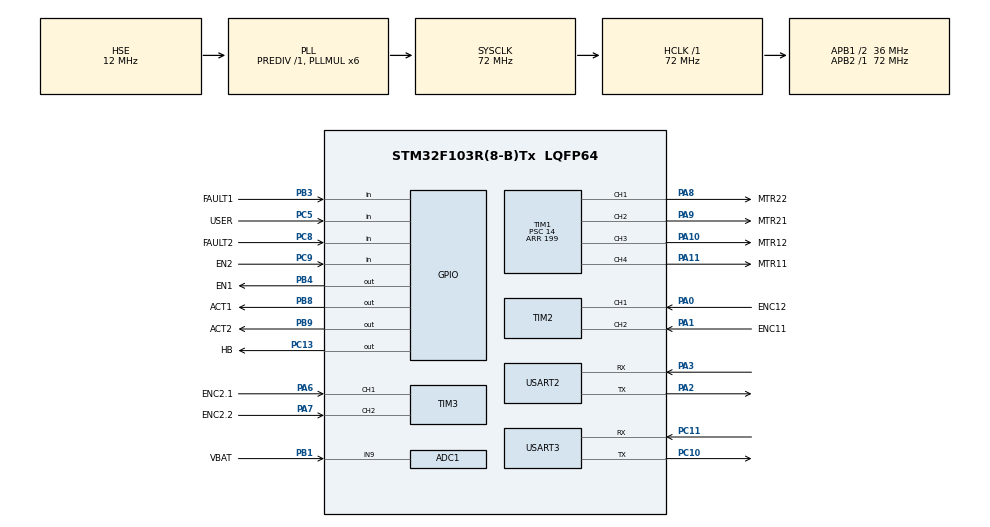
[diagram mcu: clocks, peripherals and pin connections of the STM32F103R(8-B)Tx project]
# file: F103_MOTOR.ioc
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ADC1.Channel-21\#ChannelRegularConversion=ADC_CHANNEL_9
ADC1.ContinuousConvMode=DISABLE
ADC1.EnableInjectedConversion=DISABLE
ADC1.InjNumberOfConversion=0
ADC1.NbrOfConversionFlag=1
ADC1.Rank-21\#ChannelRegularConversion=1
ADC1.SamplingTime-21\#ChannelRegularConversion=ADC_SAMPLETIME_239CYCLES_5
ADC1.master=1
Dma.Request0=USART2_TX
Dma.USART2_TX.0.Direction=DMA_MEMORY_TO_PERIPH
Dma.USART2_TX.0.Instance=DMA1_Channel7
Dma.USART2_TX.0.MemDataAlignment=DMA_MDATAALIGN_BYTE
Dma.USART2_TX.0.MemInc=DMA_MINC_ENABLE
Dma.USART2_TX.0.Mode=DMA_NORMAL
Dma.USART2_TX.0.PeriphDataAlignment=DMA_PDATAALIGN_BYTE
Dma.USART2_TX.0.PeriphInc=DMA_PINC_DISABLE
Dma.USART2_TX.0.Priority=DMA_PRIORITY_LOW
Mcu.Family=STM32F1
Mcu.Name=STM32F103R(8-B)Tx
Mcu.Package=LQFP64
NVIC.DMA1_Channel7_IRQn=true\:0\:0\:false\:false\:true\:false\:true\:true
NVIC.PriorityGroup=NVIC_PRIORITYGROUP_4
NVIC.TIM4_IRQn=true\:0\:0\:false\:false\:true\:true\:true\:true
NVIC.USART2_IRQn=true\:0\:0\:false\:false\:true\:true\:true\:true
NVIC.USART3_IRQn=true\:0\:0\:false\:false\:true\:true\:true\:true
PA0-WKUP.GPIO_Label=ENC12
PA0-WKUP.Signal=S_TIM2_CH1_ETR
PA1.GPIO_Label=ENC11
PA1.Signal=S_TIM2_CH2
PA10.GPIO_Label=MTR12
PA10.Signal=S_TIM1_CH3
PA11.GPIO_Label=MTR11
PA11.Signal=S_TIM1_CH4
PA13.Mode=Serial_Wire
PA13.Signal=SYS_JTMS-SWDIO
PA14.Mode=Serial_Wire
PA14.Signal=SYS_JTCK-SWCLK
PA2.Mode=Asynchronous
PA2.Signal=USART2_TX
PA3.Mode=Asynchronous
PA3.Signal=USART2_RX
PA6.GPIO_Label=ENC2.1
PA6.Signal=S_TIM3_CH1
PA7.GPIO_Label=ENC2.2
PA7.Signal=S_TIM3_CH2
PA8.GPIO_Label=MTR22
PA8.Signal=S_TIM1_CH1
PA9.GPIO_Label=MTR21
PA9.Signal=S_TIM1_CH2
PB1.GPIO_Label=VBAT
PB1.Signal=ADCx_IN9
PB3.GPIO_Label=FAULT1
PB3.Signal=GPIO_Input
PB4.GPIO_Label=EN1
PB4.Signal=GPIO_Output
PB8.GPIO_Label=ACT1
PB8.Signal=GPIO_Output
PB9.GPIO_Label=ACT2
PB9.Signal=GPIO_Output
PC10.Mode=Asynchronous
PC10.Signal=USART3_TX
PC11.Mode=Asynchronous
PC11.Signal=USART3_RX
PC13-TAMPER-RTC.GPIO_Label=HB
PC13-TAMPER-RTC.Signal=GPIO_Output
PC5.GPIO_Label=USER
PC5.Signal=GPIO_Input
PC8.GPIO_Label=FAULT2
PC8.Signal=GPIO_Input
PC9.GPIO_Label=EN2
PC9.Signal=GPIO_Input
PD0-OSC_IN.Mode=HSE-External-Oscillator
PD0-OSC_IN.Signal=RCC_OSC_IN
PD1-OSC_OUT.Mode=HSE-External-Oscillator
PD1-OSC_OUT.Signal=RCC_OSC_OUT
ProjectManager.HeapSize=0x200
ProjectManager.StackSize=0x400
ProjectManager.TargetToolchain=STM32CubeIDE
RCC.ADCPresc=RCC_ADCPCLK2_DIV8
RCC.AHBFreq_Value=72000000
RCC.APB1CLKDivider=RCC_HCLK_DIV2
RCC.APB1Freq_Value=36000000
RCC.APB1TimFreq_Value=72000000
RCC.APB2Freq_Value=72000000
RCC.APB2TimFreq_Value=72000000
RCC.HCLKFreq_Value=72000000
RCC.HSE_VALUE=12000000
RCC.PLLMUL=RCC_PLL_MUL6
RCC.PLLSourceVirtual=RCC_PLLSOURCE_HSE
RCC.SYSCLKFreq_VALUE=72000000
RCC.SYSCLKSource=RCC_SYSCLKSOURCE_PLLCLK
RCC.USBFreq_Value=72000000
SH.ADCx_IN9.0=ADC2_IN9
SH.ADCx_IN9.1=ADC1_IN9,IN9
SH.S_TIM1_CH1.0=TIM1_CH1,PWM Generation1 CH1
SH.S_TIM1_CH2.0=TIM1_CH2,PWM Generation2 CH2
SH.S_TIM1_CH3.0=TIM1_CH3,PWM Generation3 CH3
SH.S_TIM1_CH4.0=TIM1_CH4,PWM Generation4 CH4
SH.S_TIM2_CH1_ETR.0=TIM2_CH1,Encoder_Interface
SH.S_TIM2_CH2.0=TIM2_CH2,Encoder_Interface
SH.S_TIM3_CH1.0=TIM3_CH1,Encoder_Interface
SH.S_TIM3_CH2.0=TIM3_CH2,Encoder_Interface
TIM1.AutoReloadPreload=TIM_AUTORELOAD_PRELOAD_ENABLE
TIM1.BreakPolarity=TIM_BREAKPOLARITY_LOW
TIM1.BreakState=TIM_BREAK_DISABLE
TIM1.Channel-PWM\ Generation1\ CH1=TIM_CHANNEL_1
TIM1.Channel-PWM\ Generation2\ CH2=TIM_CHANNEL_2
TIM1.Channel-PWM\ Generation3\ CH3=TIM_CHANNEL_3
TIM1.Channel-PWM\ Generation4\ CH4=TIM_CHANNEL_4
TIM1.OCMode_PWM-PWM\ Generation1\ CH1=TIM_OCMODE_PWM1
TIM1.OCMode_PWM-PWM\ Generation2\ CH2=TIM_OCMODE_PWM1
TIM1.OCMode_PWM-PWM\ Generation3\ CH3=TIM_OCMODE_PWM1
TIM1.OCMode_PWM-PWM\ Generation4\ CH4=TIM_OCMODE_PWM1
TIM1.OCPolarity_1=TIM_OCPOLARITY_HIGH
TIM1.OCPolarity_2=TIM_OCPOLARITY_HIGH
TIM1.OCPolarity_3=TIM_OCPOLARITY_HIGH
TIM1.OCPolarity_4=TIM_OCPOLARITY_HIGH
TIM1.Period=199
TIM1.Prescaler=14
TIM2.EncoderMode=TIM_ENCODERMODE_TI12
TIM3.EncoderMode=TIM_ENCODERMODE_TI12
TIM4.AutoReloadPreload=TIM_AUTORELOAD_PRELOAD_ENABLE
TIM4.Period=19999
TIM4.Prescaler=71
USART2.VirtualMode=VM_ASYNC
USART3.VirtualMode=VM_ASYNC
VP_TIM1_VS_ClockSourceINT.Mode=Internal
VP_TIM4_VS_ClockSourceINT.Mode=Internal
board=custom

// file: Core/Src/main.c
/* USER CODE BEGIN Header */
/**
  ******************************************************************************
  * @file           : main.c
  * @brief          : Main program body
  * @programmer     : lmaoPkk
  ******************************************************************************
  * Skyscrapers are built from rock bottom up
  */
/* USER CODE END Header */
#include "main.h"

/* USER CODE BEGIN Includes */
#include <stdbool.h>
#include <math.h>
#include "Debug.h"
#include "DRV8848.h"
#include "MOTOR_Link.h"
/* USER CODE END Includes */

/* USER CODE BEGIN PTD */
typedef enum main_states {
	MAIN_STANDBY = 0u,
	MAIN_INITIALIZATION,
	MAIN_ERROR
} Program_State;
typedef struct {
	TIM_HandleTypeDef *TIM_CH;
	float pulses_per_rev;
	uint16_t count;
    uint16_t prev_count;
    bool initialized;
} EncoderState;

typedef struct{
	float error;
	float prev_error;

	bool LPF;
	float alpha;

	float Kp;
	float Ki;
	float Kd;
	float dt;

	float integral;
	float integral_lim;

	float output;
}PID_Controller;
/* USER CODE END PTD */

/* USER CODE BEGIN PD */
#define encoder_pulses 44.0f // Quadrature mode
#define gear_box_ratio 9.677419f
#define velocity_dt    16.0f //unit: ms

#define tuned_Kp 0.01
#define tuned_Ki 0.0
#define tuned_Kd 0.0
/* USER CODE END PD */

/* USER CODE BEGIN PM */
#ifdef __GNUC__
#define PUTCHAR_PROTOTYPE int __io_putchar(int ch)
#else
#define PUTCHAR_PROTOTYPE int fputc(int ch, FILE *f)
#endif
/* USER CODE END PM */

ADC_HandleTypeDef hadc1;

TIM_HandleTypeDef htim1;
TIM_HandleTypeDef htim2;
TIM_HandleTypeDef htim3;
TIM_HandleTypeDef htim4;

UART_HandleTypeDef huart2;
UART_HandleTypeDef huart3;
DMA_HandleTypeDef hdma_usart2_tx;

/* USER CODE BEGIN PV */
// GLOBAL PROGRAM STATE
Program_State MAIN_State = MAIN_INITIALIZATION;
// DRV8848 H-BRIDGE VARIABLES
DRV8848 MTR_left = {EN1_GPIO_Port,
				EN1_Pin,
				&htim1,
				TIM_CHANNEL_3,
				TIM_CHANNEL_4,
				FAULT1_GPIO_Port,
				FAULT1_Pin,
				DRV8848_BRAKE};
DRV8848 MTR_right = {EN2_GPIO_Port,
				EN2_Pin,
				&htim1,
				TIM_CHANNEL_1,
				TIM_CHANNEL_2,
				FAULT2_GPIO_Port,
				FAULT2_Pin,
				DRV8848_BRAKE};
DRV8848_Status MTR_left_status = DRV8848_OK;
DRV8848_Status MTR_right_status = DRV8848_OK;

// ENCODER VARIABLES
EncoderState ENC_left = {.TIM_CH = &htim2,
						.pulses_per_rev = encoder_pulses * gear_box_ratio,
						.count = 0,
						.prev_count = 0,
						.initialized = true};
EncoderState ENC_right = {.TIM_CH = &htim3,
						.pulses_per_rev = encoder_pulses * gear_box_ratio,
						.count = 0,
						.prev_count = 0,
						.initialized = true};

// PID VARIABLES
PID_Controller PID_left = {
		.Kp = 0.06,
		.Ki = 0.06,
		.Kd = 0.0,
		.dt = velocity_dt/1000.0f,
		.integral = 0,
		.integral_lim = 100.0,
		.prev_error = 0,
		.LPF = true,
		.alpha = 0.98};
PID_Controller PID_right = {
		.Kp = 0.01,
		.Ki = 0.0,
		.Kd = 0.0,
		.dt = velocity_dt/1000.0f,
		.integral = 0,
		.integral_lim = 100.0,
		.prev_error = 0,
		.LPF = true,
		.alpha = 0.98};
// COMMUNICATION LINK VARIABLES
ML_UARTInterface ML_Interface = {.huart = &huart2};
ML_Driver DRV_Properties;

float pid_out_left;
int16_t ramped_left;
int16_t velocity_tempSet_left = 0;
// OTHERS
float dutyCycle = 0.5f;
float dutyCycle_prev = 0.0f;

float VBAT_divider = 188.1f / 4096.0f;// Conversion ratio, w/10x real voltage
uint8_t VBAT = 0;

/* USER CODE END PV */

void SystemClock_Config(void);
static void MX_GPIO_Init(void);
static void MX_DMA_Init(void);
static void MX_ADC1_Init(void);
static void MX_TIM1_Init(void);
static void MX_TIM2_Init(void);
static void MX_TIM3_Init(void);
static void MX_USART3_UART_Init(void);
static void MX_USART2_UART_Init(void);
static void MX_TIM4_Init(void);
/* USER CODE BEGIN PFP */

void debug_HB(void);

/*
 * Function to poll battery voltage
 * */

uint8_t getVBAT() {
	uint16_t value_adc;
	HAL_ADC_Start(&hadc1);
	if (HAL_ADC_PollForConversion(&hadc1, 10) == HAL_OK) {
	    value_adc = HAL_ADC_GetValue(&hadc1);
	}

	return (uint8_t)(value_adc * VBAT_divider);
}
/*
 * PID controller
 * */
void controller_PID(PID_Controller *pid, int16_t setPoint_velocity,
						int16_t current_velocity) {
	pid->error = setPoint_velocity - current_velocity;
	// Low-pass pre-filter
	if (pid->LPF) {
		pid->error = pid->prev_error * pid->alpha + pid->error * (1- pid->alpha);
	}
	// PID
	if (pid->output < 1.0 && pid->output > -1.0) { //Only accumulate if output is not saturated
		pid->integral += pid->error * pid->dt;
	}
	if (pid->integral > pid->integral_lim)
	    pid->integral = pid->integral_lim;

	if (pid->integral < -pid->integral_lim)
	    pid->integral = -pid->integral_lim;
	pid->output = pid->Kp * pid->error +
			pid->Ki * pid->integral +
			pid->Kd * (pid->error - pid->prev_error) / pid->dt;

	pid->prev_error = pid->error;
}
/*
 * Function to calculate velocity from encoder readings, used for both motors
 * */
int16_t getVelocity(EncoderState *self, float dt_ms) {
	if (!self->initialized) {
		//Init
		self->prev_count = 0;
		self->initialized = true;
	}

	self->count = __HAL_TIM_GET_COUNTER(self->TIM_CH);
	//delta_pulse variable for overflow handling
	int16_t delta_pulse = (int16_t)(self->count - self->prev_count);
	int16_t retVelocity = (60000.0 * delta_pulse) /
							(self->pulses_per_rev * dt_ms);
	self->prev_count = self->count;
	return retVelocity;
}

/*
 * Velocity ramping.
 * */
void velocityRamp(int16_t *current_setpoint, DRV8848 *MTR,
		int16_t target, uint16_t rate, float dt_ms) {

	if (DRV8848_IsEnabled(MTR) != DRV8848_OK) {
		return;
	}

	int16_t step = (int16_t)(rate * dt_ms / 1000.0f);
	if ((*current_setpoint + step) < target) {
		*current_setpoint += step;
	}
	else if ((*current_setpoint - step) > target) {
		*current_setpoint -= step;
	}
	else {
		*current_setpoint = target;
	}
}

/* USER CODE END PFP */

int main(void)
{

  /* MCU Configuration--------------------------------------------------------*/

  /* Reset of all peripherals, Initializes the Flash interface and the Systick. */
  HAL_Init();

  /* Configure the system clock */
  SystemClock_Config();

  /* Initialize all configured peripherals */
  MX_GPIO_Init();
  MX_DMA_Init();
  MX_ADC1_Init();
  MX_TIM1_Init();
  MX_TIM2_Init();
  MX_TIM3_Init();
  MX_USART3_UART_Init();
  MX_USART2_UART_Init();
  MX_TIM4_Init();
  /* USER CODE BEGIN 2 */
  dbg_printf("Hello World!\r\n");
  dbg_printf("Firmware by lmaoPkk\r\n");
  dbg_printf("\"hehe\" dual H-bridge driver initializing...\r\n");
  DRV8848_Init(&MTR_left);

  HAL_Delay(100);
  DRV8848_Enable(&MTR_left);
  HAL_Delay(10);
  //DRV8848_setDrive(&MTR_left, dutyCycle, DRV8848_FWD);

  // Start counter for encoder
  HAL_TIM_Encoder_Start(ENC_left.TIM_CH, TIM_CHANNEL_ALL);
  HAL_TIM_Encoder_Start(ENC_right.TIM_CH, TIM_CHANNEL_ALL);

  // Calculate ARR from sample time. Ts < 65.535 ms
  htim4.Init.Period = (uint32_t)(1000.0f * velocity_dt) - 1;
  if (HAL_TIM_Base_Init(&htim4) != HAL_OK) {Error_Handler();}

  // Start TIM4 for control loop timing
  HAL_TIM_Base_Start_IT(&htim4);

  // Start ADC for VBAT measurement
  HAL_ADCEx_Calibration_Start(&hadc1);

  DRV_Properties.setPoints.ML_Left_Velocity = 500;
  DRV_Properties.setPoints.ML_Right_Velocity = 500;

  DRV_Properties.setPoints.ML_Left_Acceleration = 150;
  DRV_Properties.setPoints.ML_Right_Acceleration = 150;

  DRV_Properties.setPoints.ML_Left_DriveMode = DRV8848_BRAKE;
  DRV_Properties.setPoints.ML_Right_DriveMode = DRV8848_BRAKE;

  DRV8848_setDriveMode(&MTR_left, DRV8848_BRAKE);

  /* USER CODE END 2 */

  /* Infinite loop */
  /* USER CODE BEGIN WHILE */
  while (1)
  {
	  debug_HB();
//	  printf("haha\n hehe\n lmao \n");
	  if (DRV8848_IsFaultActive(&MTR_left) == DRV8848_FAULT) {
		  MTR_left_status = DRV8848_FAULT;
	  }

//	  if (dutyCycle != dutyCycle_prev) {
//		  DRV8848_setDrive(&MTR_left, dutyCycle, DRV8848_FWD);
//		  dutyCycle_prev = dutyCycle;
//	  }

	  // Non-critikal task
	  DRV_Properties.telemetry.VBAT = getVBAT();

	  // Send telemetry
	  //ML_sendTelemetry(&DRV_Properties);

	  HAL_Delay(10);
    /* USER CODE END WHILE */

  }
}

void SystemClock_Config(void)
{
  RCC_OscInitTypeDef RCC_OscInitStruct = {0};
  RCC_ClkInitTypeDef RCC_ClkInitStruct = {0};
  RCC_PeriphCLKInitTypeDef PeriphClkInit = {0};

  /** Initializes the RCC Oscillators according to the specified parameters
  * in the RCC_OscInitTypeDef structure.
  */
  RCC_OscInitStruct.OscillatorType = RCC_OSCILLATORTYPE_HSE;
  RCC_OscInitStruct.HSEState = RCC_HSE_ON;
  RCC_OscInitStruct.HSEPredivValue = RCC_HSE_PREDIV_DIV1;
  RCC_OscInitStruct.HSIState = RCC_HSI_ON;
  RCC_OscInitStruct.PLL.PLLState = RCC_PLL_ON;
  RCC_OscInitStruct.PLL.PLLSource = RCC_PLLSOURCE_HSE;
  RCC_OscInitStruct.PLL.PLLMUL = RCC_PLL_MUL6;
  if (HAL_RCC_OscConfig(&RCC_OscInitStruct) != HAL_OK)
  {
    Error_Handler();
  }

  /** Initializes the CPU, AHB and APB buses clocks
  */
  RCC_ClkInitStruct.ClockType = RCC_CLOCKTYPE_HCLK|RCC_CLOCKTYPE_SYSCLK
                              |RCC_CLOCKTYPE_PCLK1|RCC_CLOCKTYPE_PCLK2;
  RCC_ClkInitStruct.SYSCLKSource = RCC_SYSCLKSOURCE_PLLCLK;
  RCC_ClkInitStruct.AHBCLKDivider = RCC_SYSCLK_DIV1;
  RCC_ClkInitStruct.APB1CLKDivider = RCC_HCLK_DIV2;
  RCC_ClkInitStruct.APB2CLKDivider = RCC_HCLK_DIV1;

  if (HAL_RCC_ClockConfig(&RCC_ClkInitStruct, FLASH_LATENCY_2) != HAL_OK)
  {
    Error_Handler();
  }
  PeriphClkInit.PeriphClockSelection = RCC_PERIPHCLK_ADC;
  PeriphClkInit.AdcClockSelection = RCC_ADCPCLK2_DIV8;
  if (HAL_RCCEx_PeriphCLKConfig(&PeriphClkInit) != HAL_OK)
  {
    Error_Handler();
  }
}

static void MX_ADC1_Init(void)
{

  ADC_ChannelConfTypeDef sConfig = {0};

  /** Common config
  */
  hadc1.Instance = ADC1;
  hadc1.Init.ScanConvMode = ADC_SCAN_DISABLE;
  hadc1.Init.ContinuousConvMode = DISABLE;
  hadc1.Init.DiscontinuousConvMode = DISABLE;
  hadc1.Init.ExternalTrigConv = ADC_SOFTWARE_START;
  hadc1.Init.DataAlign = ADC_DATAALIGN_RIGHT;
  hadc1.Init.NbrOfConversion = 1;
  if (HAL_ADC_Init(&hadc1) != HAL_OK)
  {
    Error_Handler();
  }

  /** Configure Regular Channel
  */
  sConfig.Channel = ADC_CHANNEL_9;
  sConfig.Rank = ADC_REGULAR_RANK_1;
  sConfig.SamplingTime = ADC_SAMPLETIME_239CYCLES_5;
  if (HAL_ADC_ConfigChannel(&hadc1, &sConfig) != HAL_OK)
  {
    Error_Handler();
  }

}

static void MX_TIM1_Init(void)
{

  TIM_ClockConfigTypeDef sClockSourceConfig = {0};
  TIM_MasterConfigTypeDef sMasterConfig = {0};
  TIM_OC_InitTypeDef sConfigOC = {0};
  TIM_BreakDeadTimeConfigTypeDef sBreakDeadTimeConfig = {0};

  htim1.Instance = TIM1;
  htim1.Init.Prescaler = 14;
  htim1.Init.CounterMode = TIM_COUNTERMODE_UP;
  htim1.Init.Period = 199;
  htim1.Init.ClockDivision = TIM_CLOCKDIVISION_DIV1;
  htim1.Init.RepetitionCounter = 0;
  htim1.Init.AutoReloadPreload = TIM_AUTORELOAD_PRELOAD_ENABLE;
  if (HAL_TIM_Base_Init(&htim1) != HAL_OK)
  {
    Error_Handler();
  }
  sClockSourceConfig.ClockSource = TIM_CLOCKSOURCE_INTERNAL;
  if (HAL_TIM_ConfigClockSource(&htim1, &sClockSourceConfig) != HAL_OK)
  {
    Error_Handler();
  }
  if (HAL_TIM_PWM_Init(&htim1) != HAL_OK)
  {
    Error_Handler();
  }
  sMasterConfig.MasterOutputTrigger = TIM_TRGO_RESET;
  sMasterConfig.MasterSlaveMode = TIM_MASTERSLAVEMODE_DISABLE;
  if (HAL_TIMEx_MasterConfigSynchronization(&htim1, &sMasterConfig) != HAL_OK)
  {
    Error_Handler();
  }
  sConfigOC.OCMode = TIM_OCMODE_PWM1;
  sConfigOC.Pulse = 0;
  sConfigOC.OCPolarity = TIM_OCPOLARITY_HIGH;
  sConfigOC.OCNPolarity = TIM_OCNPOLARITY_HIGH;
  sConfigOC.OCFastMode = TIM_OCFAST_DISABLE;
  sConfigOC.OCIdleState = TIM_OCIDLESTATE_RESET;
  sConfigOC.OCNIdleState = TIM_OCNIDLESTATE_RESET;
  if (HAL_TIM_PWM_ConfigChannel(&htim1, &sConfigOC, TIM_CHANNEL_1) != HAL_OK)
  {
    Error_Handler();
  }
  if (HAL_TIM_PWM_ConfigChannel(&htim1, &sConfigOC, TIM_CHANNEL_2) != HAL_OK)
  {
    Error_Handler();
  }
  if (HAL_TIM_PWM_ConfigChannel(&htim1, &sConfigOC, TIM_CHANNEL_3) != HAL_OK)
  {
    Error_Handler();
  }
  if (HAL_TIM_PWM_ConfigChannel(&htim1, &sConfigOC, TIM_CHANNEL_4) != HAL_OK)
  {
    Error_Handler();
  }
  sBreakDeadTimeConfig.OffStateRunMode = TIM_OSSR_DISABLE;
  sBreakDeadTimeConfig.OffStateIDLEMode = TIM_OSSI_DISABLE;
  sBreakDeadTimeConfig.LockLevel = TIM_LOCKLEVEL_OFF;
  sBreakDeadTimeConfig.DeadTime = 0;
  sBreakDeadTimeConfig.BreakState = TIM_BREAK_DISABLE;
  sBreakDeadTimeConfig.BreakPolarity = TIM_BREAKPOLARITY_LOW;
  sBreakDeadTimeConfig.AutomaticOutput = TIM_AUTOMATICOUTPUT_DISABLE;
  if (HAL_TIMEx_ConfigBreakDeadTime(&htim1, &sBreakDeadTimeConfig) != HAL_OK)
  {
    Error_Handler();
  }
  HAL_TIM_MspPostInit(&htim1);

}

static void MX_TIM2_Init(void)
{

  TIM_Encoder_InitTypeDef sConfig = {0};
  TIM_MasterConfigTypeDef sMasterConfig = {0};

  htim2.Instance = TIM2;
  htim2.Init.Prescaler = 0;
  htim2.Init.CounterMode = TIM_COUNTERMODE_UP;
  htim2.Init.Period = 65535;
  htim2.Init.ClockDivision = TIM_CLOCKDIVISION_DIV1;
  htim2.Init.AutoReloadPreload = TIM_AUTORELOAD_PRELOAD_DISABLE;
  sConfig.EncoderMode = TIM_ENCODERMODE_TI12;
  sConfig.IC1Polarity = TIM_ICPOLARITY_RISING;
  sConfig.IC1Selection = TIM_ICSELECTION_DIRECTTI;
  sConfig.IC1Prescaler = TIM_ICPSC_DIV1;
  sConfig.IC1Filter = 0;
  sConfig.IC2Polarity = TIM_ICPOLARITY_RISING;
  sConfig.IC2Selection = TIM_ICSELECTION_DIRECTTI;
  sConfig.IC2Prescaler = TIM_ICPSC_DIV1;
  sConfig.IC2Filter = 0;
  if (HAL_TIM_Encoder_Init(&htim2, &sConfig) != HAL_OK)
  {
    Error_Handler();
  }
  sMasterConfig.MasterOutputTrigger = TIM_TRGO_RESET;
  sMasterConfig.MasterSlaveMode = TIM_MASTERSLAVEMODE_DISABLE;
  if (HAL_TIMEx_MasterConfigSynchronization(&htim2, &sMasterConfig) != HAL_OK)
  {
    Error_Handler();
  }

}

static void MX_TIM3_Init(void)
{

  TIM_Encoder_InitTypeDef sConfig = {0};
  TIM_MasterConfigTypeDef sMasterConfig = {0};

  htim3.Instance = TIM3;
  htim3.Init.Prescaler = 0;
  htim3.Init.CounterMode = TIM_COUNTERMODE_UP;
  htim3.Init.Period = 65535;
  htim3.Init.ClockDivision = TIM_CLOCKDIVISION_DIV1;
  htim3.Init.AutoReloadPreload = TIM_AUTORELOAD_PRELOAD_DISABLE;
  sConfig.EncoderMode = TIM_ENCODERMODE_TI12;
  sConfig.IC1Polarity = TIM_ICPOLARITY_RISING;
  sConfig.IC1Selection = TIM_ICSELECTION_DIRECTTI;
  sConfig.IC1Prescaler = TIM_ICPSC_DIV1;
  sConfig.IC1Filter = 0;
  sConfig.IC2Polarity = TIM_ICPOLARITY_RISING;
  sConfig.IC2Selection = TIM_ICSELECTION_DIRECTTI;
  sConfig.IC2Prescaler = TIM_ICPSC_DIV1;
  sConfig.IC2Filter = 0;
  if (HAL_TIM_Encoder_Init(&htim3, &sConfig) != HAL_OK)
  {
    Error_Handler();
  }
  sMasterConfig.MasterOutputTrigger = TIM_TRGO_RESET;
  sMasterConfig.MasterSlaveMode = TIM_MASTERSLAVEMODE_DISABLE;
  if (HAL_TIMEx_MasterConfigSynchronization(&htim3, &sMasterConfig) != HAL_OK)
  {
    Error_Handler();
  }

}

static void MX_TIM4_Init(void)
{

  TIM_ClockConfigTypeDef sClockSourceConfig = {0};
  TIM_MasterConfigTypeDef sMasterConfig = {0};

  htim4.Instance = TIM4;
  htim4.Init.Prescaler = 71;
  htim4.Init.CounterMode = TIM_COUNTERMODE_UP;
  htim4.Init.Period = 19999;
  htim4.Init.ClockDivision = TIM_CLOCKDIVISION_DIV1;
  htim4.Init.AutoReloadPreload = TIM_AUTORELOAD_PRELOAD_ENABLE;
  if (HAL_TIM_Base_Init(&htim4) != HAL_OK)
  {
    Error_Handler();
  }
  sClockSourceConfig.ClockSource = TIM_CLOCKSOURCE_INTERNAL;
  if (HAL_TIM_ConfigClockSource(&htim4, &sClockSourceConfig) != HAL_OK)
  {
    Error_Handler();
  }
  sMasterConfig.MasterOutputTrigger = TIM_TRGO_RESET;
  sMasterConfig.MasterSlaveMode = TIM_MASTERSLAVEMODE_DISABLE;
  if (HAL_TIMEx_MasterConfigSynchronization(&htim4, &sMasterConfig) != HAL_OK)
  {
    Error_Handler();
  }

}

static void MX_USART2_UART_Init(void)
{

  huart2.Instance = USART2;
  huart2.Init.BaudRate = 115200;
  huart2.Init.WordLength = UART_WORDLENGTH_8B;
  huart2.Init.StopBits = UART_STOPBITS_1;
  huart2.Init.Parity = UART_PARITY_NONE;
  huart2.Init.Mode = UART_MODE_TX_RX;
  huart2.Init.HwFlowCtl = UART_HWCONTROL_NONE;
  huart2.Init.OverSampling = UART_OVERSAMPLING_16;
  if (HAL_UART_Init(&huart2) != HAL_OK)
  {
    Error_Handler();
  }

}

static void MX_USART3_UART_Init(void)
{

  huart3.Instance = USART3;
  huart3.Init.BaudRate = 115200;
  huart3.Init.WordLength = UART_WORDLENGTH_8B;
  huart3.Init.StopBits = UART_STOPBITS_1;
  huart3.Init.Parity = UART_PARITY_NONE;
  huart3.Init.Mode = UART_MODE_TX_RX;
  huart3.Init.HwFlowCtl = UART_HWCONTROL_NONE;
  huart3.Init.OverSampling = UART_OVERSAMPLING_16;
  if (HAL_UART_Init(&huart3) != HAL_OK)
  {
    Error_Handler();
  }

}

static void MX_DMA_Init(void)
{

  /* DMA controller clock enable */
  __HAL_RCC_DMA1_CLK_ENABLE();

  /* DMA interrupt init */
  /* DMA1_Channel7_IRQn interrupt configuration */
  HAL_NVIC_SetPriority(DMA1_Channel7_IRQn, 0, 0);
  HAL_NVIC_EnableIRQ(DMA1_Channel7_IRQn);

}

static void MX_GPIO_Init(void)
{
  GPIO_InitTypeDef GPIO_InitStruct = {0};

  /* GPIO Ports Clock Enable */
  __HAL_RCC_GPIOC_CLK_ENABLE();
  __HAL_RCC_GPIOD_CLK_ENABLE();
  __HAL_RCC_GPIOA_CLK_ENABLE();
  __HAL_RCC_GPIOB_CLK_ENABLE();

  /*Configure GPIO pin Output Level */
  HAL_GPIO_WritePin(HB_GPIO_Port, HB_Pin, GPIO_PIN_RESET);

  /*Configure GPIO pin Output Level */
  HAL_GPIO_WritePin(GPIOB, EN1_Pin|ACT1_Pin|ACT2_Pin, GPIO_PIN_RESET);

  /*Configure GPIO pin : HB_Pin */
  GPIO_InitStruct.Pin = HB_Pin;
  GPIO_InitStruct.Mode = GPIO_MODE_OUTPUT_PP;
  GPIO_InitStruct.Pull = GPIO_NOPULL;
  GPIO_InitStruct.Speed = GPIO_SPEED_FREQ_LOW;
  HAL_GPIO_Init(HB_GPIO_Port, &GPIO_InitStruct);

  /*Configure GPIO pins : USER_Pin FAULT2_Pin EN2_Pin */
  GPIO_InitStruct.Pin = USER_Pin|FAULT2_Pin|EN2_Pin;
  GPIO_InitStruct.Mode = GPIO_MODE_INPUT;
  GPIO_InitStruct.Pull = GPIO_NOPULL;
  HAL_GPIO_Init(GPIOC, &GPIO_InitStruct);

  /*Configure GPIO pin : VBAT_Pin */
  GPIO_InitStruct.Pin = VBAT_Pin;
  GPIO_InitStruct.Mode = GPIO_MODE_ANALOG;
  HAL_GPIO_Init(VBAT_GPIO_Port, &GPIO_InitStruct);

  /*Configure GPIO pin : FAULT1_Pin */
  GPIO_InitStruct.Pin = FAULT1_Pin;
  GPIO_InitStruct.Mode = GPIO_MODE_INPUT;
  GPIO_InitStruct.Pull = GPIO_NOPULL;
  HAL_GPIO_Init(FAULT1_GPIO_Port, &GPIO_InitStruct);

  /*Configure GPIO pins : EN1_Pin ACT1_Pin ACT2_Pin */
  GPIO_InitStruct.Pin = EN1_Pin|ACT1_Pin|ACT2_Pin;
  GPIO_InitStruct.Mode = GPIO_MODE_OUTPUT_PP;
  GPIO_InitStruct.Pull = GPIO_NOPULL;
  GPIO_InitStruct.Speed = GPIO_SPEED_FREQ_LOW;
  HAL_GPIO_Init(GPIOB, &GPIO_InitStruct);

}

/* USER CODE BEGIN 4 */
PUTCHAR_PROTOTYPE {
	HAL_UART_Transmit(&huart3, (uint8_t *)&ch, 1, HAL_MAX_DELAY);
	return ch;
}

void debug_HB() {
	static uint32_t lastTick = 0;
	if (HAL_GetTick() - lastTick >= 1000) {
		lastTick = HAL_GetTick();
		HAL_GPIO_TogglePin(HB_GPIO_Port, HB_Pin);
	}
}

void HAL_GPIO_EXTI_Callback(uint16_t GPIO_Pin) {
  if(GPIO_Pin == FAULT1_Pin) {
	  MTR_left_status = DRV8848_FAULT;
  }
}

void HAL_UART_TxCpltCallback(UART_HandleTypeDef *huart) {
	if (huart->Instance == USART2) {
		ML_Interface.tx_flag = 1;
		HAL_GPIO_TogglePin(ACT1_GPIO_Port, ACT1_Pin);
	}
}
void HAL_TIM_PeriodElapsedCallback (TIM_HandleTypeDef *TIM) {
	if (TIM->Instance == TIM4) {
		DRV_Properties.telemetry.ML_Left_Velocity = getVelocity(&ENC_left, velocity_dt);
		DRV_Properties.telemetry.ML_Right_Velocity = getVelocity(&ENC_right, velocity_dt);

		// Beginning of motion generation
		velocityRamp(&velocity_tempSet_left, &MTR_left,
					 DRV_Properties.setPoints.ML_Left_Velocity,
					 DRV_Properties.setPoints.ML_Left_Acceleration,
					 velocity_dt);

		controller_PID(&PID_left, velocity_tempSet_left,
							DRV_Properties.telemetry.ML_Left_Velocity);

		if (PID_left.output > 1.0f) {
			PID_left.output = 1.0;
		}
		else if (PID_left.output < -1.0f) {
			PID_left.output = -1.0;
		}

		if (PID_left.output > 0) {
			DRV8848_setDrive(&MTR_left, PID_left.output, DRV8848_FWD);
		}
		else {
			DRV8848_setDrive(&MTR_left, PID_left.output * -1.0, DRV8848_REV);
		}
		// End of motion generation

	}
}

/* USER CODE END 4 */

void Error_Handler(void)
{
  /* USER CODE BEGIN Error_Handler_Debug */
  /* User can add his own implementation to report the HAL error return state */
  __disable_irq();
//  driverDisable(&MTR_left);
  DRV8848_ErrHandler(&MTR_left);
  while (1)
  {
	  HAL_GPIO_TogglePin(HB_GPIO_Port, HB_Pin);
	  HAL_Delay(100);
  }
  /* USER CODE END Error_Handler_Debug */
}
